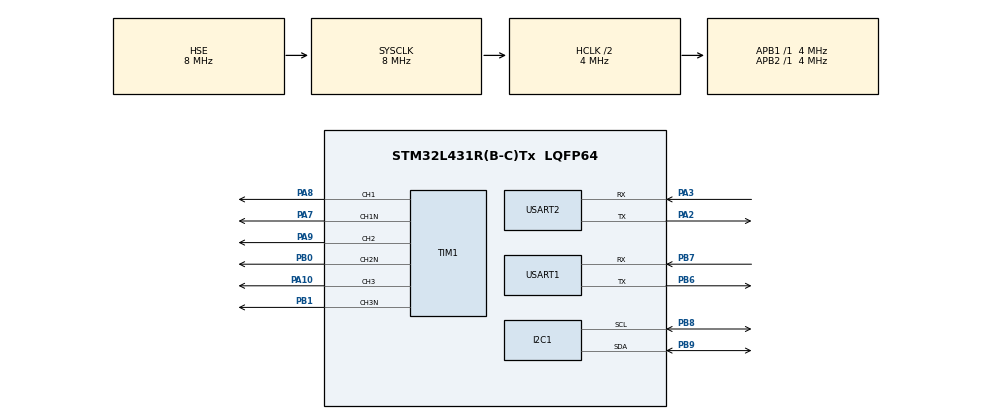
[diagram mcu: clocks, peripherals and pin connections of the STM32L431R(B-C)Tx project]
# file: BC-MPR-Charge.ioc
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I2C1.Timing=0x00100D14
Mcu.Family=STM32L4
Mcu.Name=STM32L431R(B-C)Tx
Mcu.Package=LQFP64
NVIC.PriorityGroup=NVIC_PRIORITYGROUP_4
PA10.Signal=S_TIM1_CH3
PA13\ (JTMS-SWDIO).Mode=JTAG_5_pins
PA13\ (JTMS-SWDIO).Signal=SYS_JTMS-SWDIO
PA14\ (JTCK-SWCLK).Mode=JTAG_5_pins
PA14\ (JTCK-SWCLK).Signal=SYS_JTCK-SWCLK
PA15\ (JTDI).Mode=JTAG_5_pins
PA15\ (JTDI).Signal=SYS_JTDI
PA2.Mode=Asynchronous
PA2.Signal=USART2_TX
PA3.Mode=Asynchronous
PA3.Signal=USART2_RX
PA7.Mode=PWM Generation1 CH1 CH1N
PA7.Signal=TIM1_CH1N
PA8.Signal=S_TIM1_CH1
PA9.Signal=S_TIM1_CH2
PB0.Mode=PWM Generation2 CH2 CH2N
PB0.Signal=TIM1_CH2N
PB1.Mode=PWM Generation3 CH3 CH3N
PB1.Signal=TIM1_CH3N
PB3\ (JTDO-TRACESWO).Mode=JTAG_5_pins
PB3\ (JTDO-TRACESWO).Signal=SYS_JTDO-SWO
PB4\ (NJTRST).Mode=JTAG_5_pins
PB4\ (NJTRST).Signal=SYS_JTRST
PB6.Mode=Asynchronous
PB6.Signal=USART1_TX
PB7.Mode=Asynchronous
PB7.Signal=USART1_RX
PB8.Mode=I2C
PB8.Signal=I2C1_SCL
PB9.Mode=I2C
PB9.Signal=I2C1_SDA
PC14-OSC32_IN\ (PC14).Mode=LSE-External-Oscillator
PC14-OSC32_IN\ (PC14).Signal=RCC_OSC32_IN
PC15-OSC32_OUT\ (PC15).Mode=LSE-External-Oscillator
PC15-OSC32_OUT\ (PC15).Signal=RCC_OSC32_OUT
PH0-OSC_IN\ (PH0).Mode=HSE-External-Oscillator
PH0-OSC_IN\ (PH0).Signal=RCC_OSC_IN
PH1-OSC_OUT\ (PH1).Mode=HSE-External-Oscillator
PH1-OSC_OUT\ (PH1).Signal=RCC_OSC_OUT
ProjectManager.HeapSize=0x200
ProjectManager.StackSize=0x400
ProjectManager.TargetToolchain=STM32CubeIDE
RCC.ADCFreq_Value=32000000
RCC.AHBCLKDivider=RCC_SYSCLK_DIV2
RCC.AHBFreq_Value=4000000
RCC.APB1Freq_Value=4000000
RCC.APB1TimFreq_Value=4000000
RCC.APB2Freq_Value=4000000
RCC.APB2TimFreq_Value=4000000
RCC.CortexFreq_Value=4000000
RCC.HCLKFreq_Value=4000000
RCC.HSE_VALUE=8000000
RCC.HSI48_VALUE=48000000
RCC.HSI_VALUE=16000000
RCC.MSI_VALUE=4000000
RCC.PLLSourceVirtual=RCC_PLLSOURCE_HSE
RCC.SYSCLKFreq_VALUE=8000000
RCC.SYSCLKSource=RCC_SYSCLKSOURCE_HSE
RCC.VCOOutputFreq_Value=64000000
SH.S_TIM1_CH1.0=TIM1_CH1,PWM Generation1 CH1 CH1N
SH.S_TIM1_CH2.0=TIM1_CH2,PWM Generation2 CH2 CH2N
SH.S_TIM1_CH3.0=TIM1_CH3,PWM Generation3 CH3 CH3N
TIM1.Channel-PWM\ Generation1\ CH1\ CH1N=TIM_CHANNEL_1
TIM1.Channel-PWM\ Generation2\ CH2\ CH2N=TIM_CHANNEL_2
TIM1.Channel-PWM\ Generation3\ CH3\ CH3N=TIM_CHANNEL_3
USART1.VirtualMode-Asynchronous=VM_ASYNC
USART2.VirtualMode-Asynchronous=VM_ASYNC
VP_TIM1_VS_ClockSourceINT.Mode=Internal
board=custom

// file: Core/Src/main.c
/* USER CODE BEGIN Header */
/**
  ******************************************************************************
  * @file           : main.c
  * @brief          : Main program body
  ******************************************************************************
  * @attention
  *
  * Copyright (c) 2025 STMicroelectronics.
  * All rights reserved.
  *
  * This software is licensed under terms that can be found in the LICENSE file
  * in the root directory of this software component.
  * If no LICENSE file comes with this software, it is provided AS-IS.
  *
  ******************************************************************************
  */
/* USER CODE END Header */
#include "main.h"

/* USER CODE BEGIN Includes */
#include <stdio.h>
/* USER CODE END Includes */

/* USER CODE BEGIN PD */
// BQ25756 I2C and register addresses
#define BQ25756_ADDR 			0x6B << 1

#define BQ25756_CHG_VLIM 			0x00
#define BQ25756_CHG_ILIM			0x02
#define BQ25756_INP_DPM_ILIM		0x06
#define BQ25756_INP_DPM_VLIM		0x08
#define BQ25756_INP_REV_ILIM		0x0A
#define BQ25756_INP_REV_VLIM		0x0C
#define BQ25756_PCHG_ILIM			0x10
#define BQ25756_CHG_ITERM			0x12
#define BQ25756_PCHG_TERM_CTRL		0x14
#define BQ25756_TIM_CTRL			0x15
#define BQ25756_3STG_CHG_CTRL		0x16
#define BQ25756_CHGR_CTRL			0x17
#define BQ25756_PIN_CTRL			0x18
#define BQ25756_PWR_REV_CTRL		0x19
#define BQ25756_MPPT_CTRL			0x1A
#define BQ25756_TS_CHG_THR_CTRL		0x1B
#define BQ25756_TS_CHG_RGN_CTRL		0x1C
#define BQ25756_TS_REV_THR_CTRL		0x1D
#define BQ25756_REV_UV_CTRL			0x1E
#define BQ25756_VAC_MPP_DET			0x1F
#define BQ25756_CHGR_STAT1			0x21
#define BQ25756_CHGR_STAT2			0x22
#define BQ25756_CHGR_STAT3			0x23
#define BQ25756_FLT_STAT			0x24
#define BQ25756_CHGR_FLAG1			0x25
#define BQ25756_CHGR_FLAG2			0x26
#define BQ25756_FLT_FLAG			0x27
#define BQ25756_CHGR_MSK1			0x28
#define BQ25756_CHGR_MSK2			0x29
#define BQ25756_FLT_MSK				0x2A
#define BQ25756_ADC_CTRL			0x2B
#define BQ25756_ADC_CH_CTRL			0x2C
#define BQ25756_IAC_ADC				0x2D
#define BQ25756_IBAT_ADC			0x2F
#define BQ25756_VAC_ADC				0x31
#define BQ25756_VBAT_ADC			0x33
#define BQ25756_TS_ADC				0x37
#define BQ25756_VFB_ADC				0x39
#define BQ25756_GDRV_STR_CTRL		0x3B
#define BQ25756_GDRV_DT_CTRL		0x3C
#define BQ25756_PART_INFO			0x3D
#define BQ25756_REV_IBAT_DSG		0x62
/* USER CODE END PD */

I2C_HandleTypeDef hi2c1;

TIM_HandleTypeDef htim1;

UART_HandleTypeDef huart1;
UART_HandleTypeDef huart2;

void SystemClock_Config(void);
static void MX_GPIO_Init(void);
static void MX_I2C1_Init(void);
static void MX_TIM1_Init(void);
static void MX_USART1_UART_Init(void);
static void MX_USART2_UART_Init(void);

/* USER CODE BEGIN 0 */
int _write(int file, char *data, int len) {
    // Redirect printf to UART
    HAL_UART_Transmit(&huart2, (uint8_t*)data, len, HAL_MAX_DELAY);
    return len;
}
/* USER CODE END 0 */

int main(void)
{

  /* MCU Configuration--------------------------------------------------------*/

  /* Reset of all peripherals, Initializes the Flash interface and the Systick. */
  HAL_Init();

  /* USER CODE BEGIN Init */
  // Arrays for I2C communication
  uint8_t txData[3] = {0};
  uint8_t rxData[16] = {0};

  // Variables for storing read values from ADCs
  int16_t busCurrentADC = 0;
  int16_t battCurrentADC = 0;
  uint16_t busVoltageADC = 0;
  uint16_t battVoltageADC = 0;

  // 32-bit variables to avoid overflow when converting bit-step of ADCs to actual values
  int32_t busCurrent32 = 0;
  int32_t battCurrent32 = 0;
  uint32_t busVoltage32 = 0;
  uint32_t battVoltage32 = 0;

  uint8_t chgStatus1 = 0;
  uint8_t chgStatus2 = 0;
  uint8_t chgStatus3 = 0;
  uint8_t fltStatus = 0;
  /* USER CODE END Init */

  /* Configure the system clock */
  SystemClock_Config();

  /* Initialize all configured peripherals */
  MX_GPIO_Init();
  MX_I2C1_Init();
  MX_TIM1_Init();
  MX_USART1_UART_Init();
  MX_USART2_UART_Init();
  /* USER CODE BEGIN 2 */
  /********* Configuring the BQ25756 registers *********/
  // Charge voltage limit: FB limit set to 1.532V
  txData[0] = BQ25756_CHG_VLIM;
  txData[1] = 0x0E;
  txData[2] = 0x00;
  HAL_I2C_Master_Transmit(&hi2c1, BQ25756_ADDR, txData, 3, HAL_MAX_DELAY);

  // Charge current limit: Set to 7.5A (3000mA with 5mΩ resistor = 7500mA with 2mΩ resistor)
  txData[0] = BQ25756_CHG_ILIM;
  txData[1] = 0xF0;
  txData[2] = 0x00;
  HAL_I2C_Master_Transmit(&hi2c1, BQ25756_ADDR, txData, 3, HAL_MAX_DELAY);

  // Input current DPM limit: Set to 25A (10000mA with 5mΩ resistor = 25000mA with 2mΩ resistor)
  txData[0] = BQ25756_INP_DPM_ILIM;
  txData[1] = 0x20;
  txData[2] = 0x03;
  HAL_I2C_Master_Transmit(&hi2c1, BQ25756_ADDR, txData, 3, HAL_MAX_DELAY);

  // Input voltage DPM limit: Set to 24V
  txData[0] = BQ25756_INP_DPM_VLIM;
  txData[1] = 0xC0;
  txData[2] = 0x12;
  HAL_I2C_Master_Transmit(&hi2c1, BQ25756_ADDR, txData, 3, HAL_MAX_DELAY);

  // Reverse mode input current limit: Set to 36A (14400mA with 5mΩ resistor = 36000mA with 2mΩ resistor)
  txData[0] = BQ25756_INP_REV_ILIM;
  txData[1] = 0x80;
  txData[2] = 0x04;
  HAL_I2C_Master_Transmit(&hi2c1, BQ25756_ADDR, txData, 3, HAL_MAX_DELAY);

  // Reverse mode input voltage regulation: Set to 36V
  txData[0] = BQ25756_INP_REV_VLIM;
  txData[1] = 0x20;
  txData[2] = 0x1C;
  HAL_I2C_Master_Transmit(&hi2c1, BQ25756_ADDR, txData, 3, HAL_MAX_DELAY);

  // Precharge current limit: Set to 1.5A (600mA with 5mΩ resistor = 1500mA with 2mΩ resistor)
  txData[0] = BQ25756_PCHG_ILIM;
  txData[1] = 0x30;
  txData[2] = 0x00;
  HAL_I2C_Master_Transmit(&hi2c1, BQ25756_ADDR, txData, 3, HAL_MAX_DELAY);

  // Timer Control: Disable watchdog
  txData[0] = BQ25756_TIM_CTRL;
  txData[1] = 0x0D;
  HAL_I2C_Master_Transmit(&hi2c1, BQ25756_ADDR, txData, 2, HAL_MAX_DELAY);

  // Charger Control: Disable CE pin, enable charging
  txData[0] = BQ25756_CHGR_CTRL;
  txData[1] = 0xD9;
  HAL_I2C_Master_Transmit(&hi2c1, BQ25756_ADDR, txData, 2, HAL_MAX_DELAY);

  // Pin configurations: Disable ICHG, ILIM_HIZ pins
  txData[0] = BQ25756_PIN_CTRL;
  txData[1] = 0x00;
  HAL_I2C_Master_Transmit(&hi2c1, BQ25756_ADDR, txData, 2, HAL_MAX_DELAY);

  // TS charging threshold control: Set thresholds as -10ºC COLD, 5ºC COOL, 50ºC WARM, 60ºC HOT
  txData[0] = BQ25756_TS_CHG_THR_CTRL;
  txData[1] = 0xA0;
  HAL_I2C_Master_Transmit(&hi2c1, BQ25756_ADDR, txData, 2, HAL_MAX_DELAY);

  // TS charging region behavior: Ignore TS pin for charging control
  txData[0] = BQ25756_TS_CHG_RGN_CTRL;
  txData[1] = 0x5A;
  HAL_I2C_Master_Transmit(&hi2c1, BQ25756_ADDR, txData, 2, HAL_MAX_DELAY);

  // Reverse undervoltage control: Fix UVP at 3.3V
  txData[0] = BQ25756_REV_UV_CTRL;
  txData[1] = 0x20;
  HAL_I2C_Master_Transmit(&hi2c1, BQ25756_ADDR, txData, 2, HAL_MAX_DELAY);

  // ADC control: Enable ADC in one-shot mode, 15-bit effective resolution (24ms sample time)
  txData[0] = BQ25756_ADC_CTRL;
  txData[1] = 0xC0;
  HAL_I2C_Master_Transmit(&hi2c1, BQ25756_ADDR, txData, 2, HAL_MAX_DELAY);

  // ADC channel control: Enable all ADC channels
  txData[0] = BQ25756_ADC_CH_CTRL;
  txData[1] = 0x00;
  HAL_I2C_Master_Transmit(&hi2c1, BQ25756_ADDR, txData, 2, HAL_MAX_DELAY);

  // Reverse mode battery discharge: Disable fast transient response
  txData[0] = BQ25756_REV_IBAT_DSG;
  txData[1] = 0x00;
  HAL_I2C_Master_Transmit(&hi2c1, BQ25756_ADDR, txData, 2, HAL_MAX_DELAY);

  // Power path and reverse mode control: Disable PFM mode (ITERM < 2A)
  txData[0] = BQ25756_PWR_REV_CTRL;
  txData[1] = 0x00;
  HAL_I2C_Master_Transmit(&hi2c1, BQ25756_ADDR, txData, 2, HAL_MAX_DELAY);
  /* USER CODE END 2 */

  /* Infinite loop */
  /* USER CODE BEGIN WHILE */
  while (1)
  {
	  // 1 second delay between all ADC reads
	  HAL_Delay(1000);

	  // Reset watchdog, trigger ADC readings
	  txData[0] = BQ25756_CHGR_CTRL;
	  txData[1] = 0xE9;
//	  HAL_I2C_Master_Transmit(&hi2c1, BQ25756_ADDR, txData, 2, HAL_MAX_DELAY);

	  // Enable ADC (one-shot conversion)
	  txData[0] = BQ25756_ADC_CTRL;
	  txData[1] = 0xC0;
	  HAL_I2C_Master_Transmit(&hi2c1, BQ25756_ADDR, txData, 2, HAL_MAX_DELAY);
//
//	  txData[0] = BQ25756_ADC_CH_CTRL;
//	  txData[1] = 0x00;
//	  HAL_I2C_Master_Transmit(&hi2c1, BQ25756_ADDR, txData, 2, HAL_MAX_DELAY);

	  HAL_Delay(200); // Give time for ADC conversion to finish

	  // Read all reported ADC readings
	  txData[0] = BQ25756_IAC_ADC;
	  HAL_I2C_Master_Transmit(&hi2c1, BQ25756_ADDR, txData, 1, HAL_MAX_DELAY);
	  HAL_I2C_Master_Receive(&hi2c1, BQ25756_ADDR, rxData, 8, HAL_MAX_DELAY);

	  // Convert ADC readings based on bit step
	  // IBUS: 0.8mA bit-step with 5mΩ resistor = 2mA bit-step with 2mΩ resistor
	  busCurrentADC = (rxData[0] | (rxData[1] << 8));
	  busCurrent32 = 0;
	  for (int i = 0; i < 2; i++) {busCurrent32 += busCurrentADC;}

	  // IBAT: 2mA bit-step with 5mΩ resistor = 5mA bit-step with 2mΩ resistor
	  battCurrentADC = (rxData[2] | (rxData[3] << 8));
	  battCurrent32 = 0;
	  for (int i = 0; i < 5; i++) {battCurrent32 += battCurrentADC;}

	  // VBUS: 2mV bit-step
	  busVoltageADC = (rxData[4] | (rxData[5] << 8));
	  busVoltage32 = 0;
	  for (int i = 0; i < 2; i++) {busVoltage32 += busVoltageADC;}
	  // VBAT: 2mV bit-step
	  battVoltageADC = (rxData[6] | (rxData[7] << 8)); // 2mV bit-step
	  battVoltage32 = 0;
	  for (int i = 0; i < 2; i++) {battVoltage32 += battVoltageADC;}

	  // Read all statuses and faults
	  txData[0] = BQ25756_CHGR_STAT1;
	  HAL_I2C_Master_Transmit(&hi2c1, BQ25756_ADDR, txData, 1, HAL_MAX_DELAY);
	  HAL_I2C_Master_Receive(&hi2c1, BQ25756_ADDR, rxData, 4, HAL_MAX_DELAY);

	  // Store readings
	  chgStatus1 = rxData[0];
	  chgStatus2 = rxData[1];
	  chgStatus3 = rxData[2];
	  fltStatus = rxData[3];

	  // Broadcast ADC readings to UART
	  printf("\n*********************** BQ25756 ADC READINGS ***********************\r\n");
	  printf("Measured bus current: %ld mA\r\n", busCurrent32);
	  printf("Measured battery current: %ld mA\r\n", battCurrent32);
	  printf("Measured bus voltage: %ld mV\r\n", busVoltage32);
	  printf("Measured battery voltage: %ld mV\r\n", battVoltage32);

	  // Broadcast any detected faults
	  if (fltStatus & (1 << 1)) {
		  printf("Detected fault: DRV_SUP not OK\r\n");
	  }
    /* USER CODE END WHILE */

  }
}

void SystemClock_Config(void)
{
  RCC_OscInitTypeDef RCC_OscInitStruct = {0};
  RCC_ClkInitTypeDef RCC_ClkInitStruct = {0};

  /** Configure the main internal regulator output voltage
  */
  if (HAL_PWREx_ControlVoltageScaling(PWR_REGULATOR_VOLTAGE_SCALE1) != HAL_OK)
  {
    Error_Handler();
  }

  /** Initializes the RCC Oscillators according to the specified parameters
  * in the RCC_OscInitTypeDef structure.
  */
  RCC_OscInitStruct.OscillatorType = RCC_OSCILLATORTYPE_HSE;
  RCC_OscInitStruct.HSEState = RCC_HSE_ON;
  RCC_OscInitStruct.PLL.PLLState = RCC_PLL_NONE;
  if (HAL_RCC_OscConfig(&RCC_OscInitStruct) != HAL_OK)
  {
    Error_Handler();
  }

  /** Initializes the CPU, AHB and APB buses clocks
  */
  RCC_ClkInitStruct.ClockType = RCC_CLOCKTYPE_HCLK|RCC_CLOCKTYPE_SYSCLK
                              |RCC_CLOCKTYPE_PCLK1|RCC_CLOCKTYPE_PCLK2;
  RCC_ClkInitStruct.SYSCLKSource = RCC_SYSCLKSOURCE_HSE;
  RCC_ClkInitStruct.AHBCLKDivider = RCC_SYSCLK_DIV2;
  RCC_ClkInitStruct.APB1CLKDivider = RCC_HCLK_DIV1;
  RCC_ClkInitStruct.APB2CLKDivider = RCC_HCLK_DIV1;

  if (HAL_RCC_ClockConfig(&RCC_ClkInitStruct, FLASH_LATENCY_0) != HAL_OK)
  {
    Error_Handler();
  }
}

static void MX_I2C1_Init(void)
{

  hi2c1.Instance = I2C1;
  hi2c1.Init.Timing = 0x00100D14;
  hi2c1.Init.OwnAddress1 = 0;
  hi2c1.Init.AddressingMode = I2C_ADDRESSINGMODE_7BIT;
  hi2c1.Init.DualAddressMode = I2C_DUALADDRESS_DISABLE;
  hi2c1.Init.OwnAddress2 = 0;
  hi2c1.Init.OwnAddress2Masks = I2C_OA2_NOMASK;
  hi2c1.Init.GeneralCallMode = I2C_GENERALCALL_DISABLE;
  hi2c1.Init.NoStretchMode = I2C_NOSTRETCH_DISABLE;
  if (HAL_I2C_Init(&hi2c1) != HAL_OK)
  {
    Error_Handler();
  }

  /** Configure Analogue filter
  */
  if (HAL_I2CEx_ConfigAnalogFilter(&hi2c1, I2C_ANALOGFILTER_ENABLE) != HAL_OK)
  {
    Error_Handler();
  }

  /** Configure Digital filter
  */
  if (HAL_I2CEx_ConfigDigitalFilter(&hi2c1, 0) != HAL_OK)
  {
    Error_Handler();
  }

}

static void MX_TIM1_Init(void)
{

  TIM_ClockConfigTypeDef sClockSourceConfig = {0};
  TIM_MasterConfigTypeDef sMasterConfig = {0};
  TIM_OC_InitTypeDef sConfigOC = {0};
  TIM_BreakDeadTimeConfigTypeDef sBreakDeadTimeConfig = {0};

  htim1.Instance = TIM1;
  htim1.Init.Prescaler = 0;
  htim1.Init.CounterMode = TIM_COUNTERMODE_UP;
  htim1.Init.Period = 65535;
  htim1.Init.ClockDivision = TIM_CLOCKDIVISION_DIV1;
  htim1.Init.RepetitionCounter = 0;
  htim1.Init.AutoReloadPreload = TIM_AUTORELOAD_PRELOAD_DISABLE;
  if (HAL_TIM_Base_Init(&htim1) != HAL_OK)
  {
    Error_Handler();
  }
  sClockSourceConfig.ClockSource = TIM_CLOCKSOURCE_INTERNAL;
  if (HAL_TIM_ConfigClockSource(&htim1, &sClockSourceConfig) != HAL_OK)
  {
    Error_Handler();
  }
  if (HAL_TIM_PWM_Init(&htim1) != HAL_OK)
  {
    Error_Handler();
  }
  sMasterConfig.MasterOutputTrigger = TIM_TRGO_RESET;
  sMasterConfig.MasterOutputTrigger2 = TIM_TRGO2_RESET;
  sMasterConfig.MasterSlaveMode = TIM_MASTERSLAVEMODE_DISABLE;
  if (HAL_TIMEx_MasterConfigSynchronization(&htim1, &sMasterConfig) != HAL_OK)
  {
    Error_Handler();
  }
  sConfigOC.OCMode = TIM_OCMODE_PWM1;
  sConfigOC.Pulse = 0;
  sConfigOC.OCPolarity = TIM_OCPOLARITY_HIGH;
  sConfigOC.OCNPolarity = TIM_OCNPOLARITY_HIGH;
  sConfigOC.OCFastMode = TIM_OCFAST_DISABLE;
  sConfigOC.OCIdleState = TIM_OCIDLESTATE_RESET;
  sConfigOC.OCNIdleState = TIM_OCNIDLESTATE_RESET;
  if (HAL_TIM_PWM_ConfigChannel(&htim1, &sConfigOC, TIM_CHANNEL_1) != HAL_OK)
  {
    Error_Handler();
  }
  if (HAL_TIM_PWM_ConfigChannel(&htim1, &sConfigOC, TIM_CHANNEL_2) != HAL_OK)
  {
    Error_Handler();
  }
  if (HAL_TIM_PWM_ConfigChannel(&htim1, &sConfigOC, TIM_CHANNEL_3) != HAL_OK)
  {
    Error_Handler();
  }
  sBreakDeadTimeConfig.OffStateRunMode = TIM_OSSR_DISABLE;
  sBreakDeadTimeConfig.OffStateIDLEMode = TIM_OSSI_DISABLE;
  sBreakDeadTimeConfig.LockLevel = TIM_LOCKLEVEL_OFF;
  sBreakDeadTimeConfig.DeadTime = 0;
  sBreakDeadTimeConfig.BreakState = TIM_BREAK_DISABLE;
  sBreakDeadTimeConfig.BreakPolarity = TIM_BREAKPOLARITY_HIGH;
  sBreakDeadTimeConfig.BreakFilter = 0;
  sBreakDeadTimeConfig.Break2State = TIM_BREAK2_DISABLE;
  sBreakDeadTimeConfig.Break2Polarity = TIM_BREAK2POLARITY_HIGH;
  sBreakDeadTimeConfig.Break2Filter = 0;
  sBreakDeadTimeConfig.AutomaticOutput = TIM_AUTOMATICOUTPUT_DISABLE;
  if (HAL_TIMEx_ConfigBreakDeadTime(&htim1, &sBreakDeadTimeConfig) != HAL_OK)
  {
    Error_Handler();
  }
  HAL_TIM_MspPostInit(&htim1);

}

static void MX_USART1_UART_Init(void)
{

  huart1.Instance = USART1;
  huart1.Init.BaudRate = 115200;
  huart1.Init.WordLength = UART_WORDLENGTH_8B;
  huart1.Init.StopBits = UART_STOPBITS_1;
  huart1.Init.Parity = UART_PARITY_NONE;
  huart1.Init.Mode = UART_MODE_TX_RX;
  huart1.Init.HwFlowCtl = UART_HWCONTROL_NONE;
  huart1.Init.OverSampling = UART_OVERSAMPLING_16;
  huart1.Init.OneBitSampling = UART_ONE_BIT_SAMPLE_DISABLE;
  huart1.AdvancedInit.AdvFeatureInit = UART_ADVFEATURE_NO_INIT;
  if (HAL_UART_Init(&huart1) != HAL_OK)
  {
    Error_Handler();
  }

}

static void MX_USART2_UART_Init(void)
{

  huart2.Instance = USART2;
  huart2.Init.BaudRate = 115200;
  huart2.Init.WordLength = UART_WORDLENGTH_8B;
  huart2.Init.StopBits = UART_STOPBITS_1;
  huart2.Init.Parity = UART_PARITY_NONE;
  huart2.Init.Mode = UART_MODE_TX_RX;
  huart2.Init.HwFlowCtl = UART_HWCONTROL_NONE;
  huart2.Init.OverSampling = UART_OVERSAMPLING_16;
  huart2.Init.OneBitSampling = UART_ONE_BIT_SAMPLE_DISABLE;
  huart2.AdvancedInit.AdvFeatureInit = UART_ADVFEATURE_NO_INIT;
  if (HAL_UART_Init(&huart2) != HAL_OK)
  {
    Error_Handler();
  }

}

static void MX_GPIO_Init(void)
{

  /* GPIO Ports Clock Enable */
  __HAL_RCC_GPIOC_CLK_ENABLE();
  __HAL_RCC_GPIOH_CLK_ENABLE();
  __HAL_RCC_GPIOA_CLK_ENABLE();
  __HAL_RCC_GPIOB_CLK_ENABLE();

}

void Error_Handler(void)
{
  __disable_irq();
  while (1)
  {
  }
}
